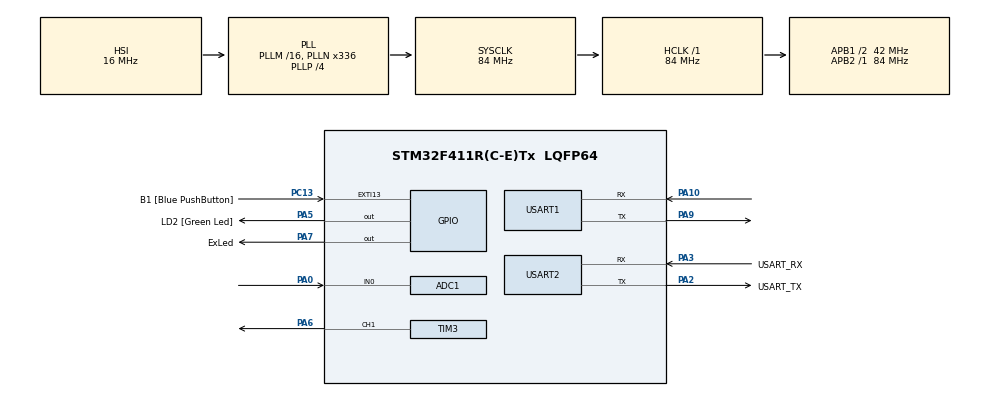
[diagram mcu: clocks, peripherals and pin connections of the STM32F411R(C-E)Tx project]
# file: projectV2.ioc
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ADC1.Channel-1\#ChannelRegularConversion=ADC_CHANNEL_0
ADC1.NbrOfConversionFlag=1
ADC1.Rank-1\#ChannelRegularConversion=1
ADC1.SamplingTime-1\#ChannelRegularConversion=ADC_SAMPLETIME_3CYCLES
ADC1.master=1
FREERTOS.Tasks01=defaultTask,0,128,StartDefaultTask,Default,NULL,Dynamic,NULL,NULL
Mcu.Family=STM32F4
Mcu.Name=STM32F411R(C-E)Tx
Mcu.Package=LQFP64
NVIC.PriorityGroup=NVIC_PRIORITYGROUP_4
PA0-WKUP.Signal=ADCx_IN0
PA10.Mode=Asynchronous
PA10.Signal=USART1_RX
PA13.GPIO_Label=TMS
PA13.Mode=Serial_Wire
PA13.Signal=SYS_JTMS-SWDIO
PA14.GPIO_Label=TCK
PA14.Mode=Serial_Wire
PA14.Signal=SYS_JTCK-SWCLK
PA2.GPIO_Label=USART_TX
PA2.Mode=Asynchronous
PA2.Signal=USART2_TX
PA3.GPIO_Label=USART_RX
PA3.Mode=Asynchronous
PA3.Signal=USART2_RX
PA5.GPIO_Label=LD2 [Green Led]
PA5.Signal=GPIO_Output
PA6.Signal=S_TIM3_CH1
PA7.GPIO_Label=ExLed
PA7.Signal=GPIO_Output
PA9.Mode=Asynchronous
PA9.Signal=USART1_TX
PB3.GPIO_Label=SWO
PB3.Signal=SYS_JTDO-SWO
PC13-ANTI_TAMP.GPIO_Label=B1 [Blue PushButton]
PC13-ANTI_TAMP.GPIO_ModeDefaultEXTI=GPIO_MODE_IT_FALLING
PC13-ANTI_TAMP.Signal=GPXTI13
PC14-OSC32_IN.Mode=LSE-External-Oscillator
PC14-OSC32_IN.Signal=RCC_OSC32_IN
PC15-OSC32_OUT.Mode=LSE-External-Oscillator
PC15-OSC32_OUT.Signal=RCC_OSC32_OUT
PH0\ -\ OSC_IN.Mode=HSE-External-Clock-Source
PH0\ -\ OSC_IN.Signal=RCC_OSC_IN
PH1\ -\ OSC_OUT.Mode=HSE-External-Clock-Source
PH1\ -\ OSC_OUT.Signal=RCC_OSC_OUT
ProjectManager.HeapSize=0x200
ProjectManager.StackSize=0x400
ProjectManager.TargetToolchain=STM32CubeIDE
RCC.48MHZClocksFreq_Value=84000000
RCC.AHBFreq_Value=84000000
RCC.APB1CLKDivider=RCC_HCLK_DIV2
RCC.APB1Freq_Value=42000000
RCC.APB1TimFreq_Value=84000000
RCC.APB2Freq_Value=84000000
RCC.APB2TimFreq_Value=84000000
RCC.CortexFreq_Value=84000000
RCC.FLatency-AdvancedSettings=FLASH_LATENCY_2
RCC.HCLKFreq_Value=84000000
RCC.HSE_VALUE=8000000
RCC.HSI_VALUE=16000000
RCC.PLLN=336
RCC.PLLP=RCC_PLLP_DIV4
RCC.SYSCLKFreq_VALUE=84000000
RCC.SYSCLKSource=RCC_SYSCLKSOURCE_PLLCLK
RCC.VCOOutputFreq_Value=336000000
SH.ADCx_IN0.0=ADC1_IN0,IN0
SH.S_TIM3_CH1.0=TIM3_CH1,PWM Generation1 CH1
TIM3.Channel-PWM\ Generation1\ CH1=TIM_CHANNEL_1
TIM3.Period=99
TIM3.Prescaler=83
USART1.VirtualMode=VM_ASYNC
USART2.VirtualMode=VM_ASYNC
VP_FREERTOS_VS_CMSIS_V1.Mode=CMSIS_V1
VP_TIM3_VS_ClockSourceINT.Mode=Internal
board=NUCLEO-F411RE

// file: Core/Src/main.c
/* USER CODE BEGIN Header */
/**
  ******************************************************************************
  * @file           : main.c
  * @brief          : Main program body
  ******************************************************************************
  * @attention
  *
  * <h2><center>&copy; Copyright (c) 2021 STMicroelectronics.
  * All rights reserved.</center></h2>
  *
  * This software component is licensed by ST under BSD 3-Clause license,
  * the "License"; You may not use this file except in compliance with the
  * License. You may obtain a copy of the License at:
  *                        opensource.org/licenses/BSD-3-Clause
  *
  ******************************************************************************
  */
/* USER CODE END Header */
#include "main.h"
#include "cmsis_os.h"

ADC_HandleTypeDef hadc1;

TIM_HandleTypeDef htim3;

UART_HandleTypeDef huart1;
UART_HandleTypeDef huart2;

osThreadId defaultTaskHandle;
/* USER CODE BEGIN PV */
osThreadId TransmitTaskHandle;
osThreadId ToggleTaskHandle;
osThreadId ReceiveTaskHandle;
uint16_t AD_RES = 0;
int32_t CH1_DC = 0;
char a[1000];
int enablemic = 0;
/* USER CODE END PV */

void SystemClock_Config(void);
static void MX_GPIO_Init(void);
static void MX_USART2_UART_Init(void);
static void MX_USART1_UART_Init(void);
static void MX_ADC1_Init(void);
static void MX_TIM3_Init(void);
void StartDefaultTask(void const * argument);

/* USER CODE BEGIN PFP */
void TransmittedThread(void const * argument);
void ToggleThread(void const * argument);
void ReceiveThread(void const * argument);

/* USER CODE END PFP */

int main(void)
{

  /* MCU Configuration--------------------------------------------------------*/

  /* Reset of all peripherals, Initializes the Flash interface and the Systick. */
  HAL_Init();

  /* Configure the system clock */
  SystemClock_Config();

  /* Initialize all configured peripherals */
  MX_GPIO_Init();
  MX_USART2_UART_Init();
  MX_USART1_UART_Init();
  MX_ADC1_Init();
  MX_TIM3_Init();

  /* Create the thread(s) */
  /* definition and creation of defaultTask */
  osThreadDef(defaultTask, StartDefaultTask, osPriorityNormal, 0, 128);
  defaultTaskHandle = osThreadCreate(osThread(defaultTask), NULL);

  /* Start scheduler */
  osKernelStart();

  /* We should never get here as control is now taken by the scheduler */
  /* Infinite loop */
  while (1)
  {

  }
}

void SystemClock_Config(void)
{
  RCC_OscInitTypeDef RCC_OscInitStruct = {0};
  RCC_ClkInitTypeDef RCC_ClkInitStruct = {0};

  /** Configure the main internal regulator output voltage
  */
  __HAL_RCC_PWR_CLK_ENABLE();
  __HAL_PWR_VOLTAGESCALING_CONFIG(PWR_REGULATOR_VOLTAGE_SCALE1);
  /** Initializes the RCC Oscillators according to the specified parameters
  * in the RCC_OscInitTypeDef structure.
  */
  RCC_OscInitStruct.OscillatorType = RCC_OSCILLATORTYPE_HSI;
  RCC_OscInitStruct.HSIState = RCC_HSI_ON;
  RCC_OscInitStruct.HSICalibrationValue = RCC_HSICALIBRATION_DEFAULT;
  RCC_OscInitStruct.PLL.PLLState = RCC_PLL_ON;
  RCC_OscInitStruct.PLL.PLLSource = RCC_PLLSOURCE_HSI;
  RCC_OscInitStruct.PLL.PLLM = 16;
  RCC_OscInitStruct.PLL.PLLN = 336;
  RCC_OscInitStruct.PLL.PLLP = RCC_PLLP_DIV4;
  RCC_OscInitStruct.PLL.PLLQ = 4;
  if (HAL_RCC_OscConfig(&RCC_OscInitStruct) != HAL_OK)
  {
    Error_Handler();
  }
  /** Initializes the CPU, AHB and APB buses clocks
  */
  RCC_ClkInitStruct.ClockType = RCC_CLOCKTYPE_HCLK|RCC_CLOCKTYPE_SYSCLK
                              |RCC_CLOCKTYPE_PCLK1|RCC_CLOCKTYPE_PCLK2;
  RCC_ClkInitStruct.SYSCLKSource = RCC_SYSCLKSOURCE_PLLCLK;
  RCC_ClkInitStruct.AHBCLKDivider = RCC_SYSCLK_DIV1;
  RCC_ClkInitStruct.APB1CLKDivider = RCC_HCLK_DIV2;
  RCC_ClkInitStruct.APB2CLKDivider = RCC_HCLK_DIV1;

  if (HAL_RCC_ClockConfig(&RCC_ClkInitStruct, FLASH_LATENCY_2) != HAL_OK)
  {
    Error_Handler();
  }
}

static void MX_ADC1_Init(void)
{

  ADC_ChannelConfTypeDef sConfig = {0};

  /** Configure the global features of the ADC (Clock, Resolution, Data Alignment and number of conversion)
  */
  hadc1.Instance = ADC1;
  hadc1.Init.ClockPrescaler = ADC_CLOCK_SYNC_PCLK_DIV4;
  hadc1.Init.Resolution = ADC_RESOLUTION_12B;
  hadc1.Init.ScanConvMode = DISABLE;
  hadc1.Init.ContinuousConvMode = DISABLE;
  hadc1.Init.DiscontinuousConvMode = DISABLE;
  hadc1.Init.ExternalTrigConvEdge = ADC_EXTERNALTRIGCONVEDGE_NONE;
  hadc1.Init.ExternalTrigConv = ADC_SOFTWARE_START;
  hadc1.Init.DataAlign = ADC_DATAALIGN_RIGHT;
  hadc1.Init.NbrOfConversion = 1;
  hadc1.Init.DMAContinuousRequests = DISABLE;
  hadc1.Init.EOCSelection = ADC_EOC_SINGLE_CONV;
  if (HAL_ADC_Init(&hadc1) != HAL_OK)
  {
    Error_Handler();
  }
  /** Configure for the selected ADC regular channel its corresponding rank in the sequencer and its sample time.
  */
  sConfig.Channel = ADC_CHANNEL_0;
  sConfig.Rank = 1;
  sConfig.SamplingTime = ADC_SAMPLETIME_3CYCLES;
  if (HAL_ADC_ConfigChannel(&hadc1, &sConfig) != HAL_OK)
  {
    Error_Handler();
  }

}

static void MX_TIM3_Init(void)
{

  TIM_ClockConfigTypeDef sClockSourceConfig = {0};
  TIM_MasterConfigTypeDef sMasterConfig = {0};
  TIM_OC_InitTypeDef sConfigOC = {0};

  htim3.Instance = TIM3;
  htim3.Init.Prescaler = 83;
  htim3.Init.CounterMode = TIM_COUNTERMODE_UP;
  htim3.Init.Period = 99;
  htim3.Init.ClockDivision = TIM_CLOCKDIVISION_DIV1;
  htim3.Init.AutoReloadPreload = TIM_AUTORELOAD_PRELOAD_DISABLE;
  if (HAL_TIM_Base_Init(&htim3) != HAL_OK)
  {
    Error_Handler();
  }
  sClockSourceConfig.ClockSource = TIM_CLOCKSOURCE_INTERNAL;
  if (HAL_TIM_ConfigClockSource(&htim3, &sClockSourceConfig) != HAL_OK)
  {
    Error_Handler();
  }
  if (HAL_TIM_PWM_Init(&htim3) != HAL_OK)
  {
    Error_Handler();
  }
  sMasterConfig.MasterOutputTrigger = TIM_TRGO_RESET;
  sMasterConfig.MasterSlaveMode = TIM_MASTERSLAVEMODE_DISABLE;
  if (HAL_TIMEx_MasterConfigSynchronization(&htim3, &sMasterConfig) != HAL_OK)
  {
    Error_Handler();
  }
  sConfigOC.OCMode = TIM_OCMODE_PWM1;
  sConfigOC.Pulse = 0;
  sConfigOC.OCPolarity = TIM_OCPOLARITY_HIGH;
  sConfigOC.OCFastMode = TIM_OCFAST_DISABLE;
  if (HAL_TIM_PWM_ConfigChannel(&htim3, &sConfigOC, TIM_CHANNEL_1) != HAL_OK)
  {
    Error_Handler();
  }
  HAL_TIM_MspPostInit(&htim3);

}

static void MX_USART1_UART_Init(void)
{

  huart1.Instance = USART1;
  huart1.Init.BaudRate = 115200;
  huart1.Init.WordLength = UART_WORDLENGTH_8B;
  huart1.Init.StopBits = UART_STOPBITS_1;
  huart1.Init.Parity = UART_PARITY_NONE;
  huart1.Init.Mode = UART_MODE_TX_RX;
  huart1.Init.HwFlowCtl = UART_HWCONTROL_NONE;
  huart1.Init.OverSampling = UART_OVERSAMPLING_16;
  if (HAL_UART_Init(&huart1) != HAL_OK)
  {
    Error_Handler();
  }

}

static void MX_USART2_UART_Init(void)
{

  huart2.Instance = USART2;
  huart2.Init.BaudRate = 115200;
  huart2.Init.WordLength = UART_WORDLENGTH_8B;
  huart2.Init.StopBits = UART_STOPBITS_1;
  huart2.Init.Parity = UART_PARITY_NONE;
  huart2.Init.Mode = UART_MODE_TX_RX;
  huart2.Init.HwFlowCtl = UART_HWCONTROL_NONE;
  huart2.Init.OverSampling = UART_OVERSAMPLING_16;
  if (HAL_UART_Init(&huart2) != HAL_OK)
  {
    Error_Handler();
  }

}

static void MX_GPIO_Init(void)
{
  GPIO_InitTypeDef GPIO_InitStruct = {0};

  /* GPIO Ports Clock Enable */
  __HAL_RCC_GPIOC_CLK_ENABLE();
  __HAL_RCC_GPIOH_CLK_ENABLE();
  __HAL_RCC_GPIOA_CLK_ENABLE();
  __HAL_RCC_GPIOB_CLK_ENABLE();

  /*Configure GPIO pin Output Level */
  HAL_GPIO_WritePin(GPIOA, LD2_Pin|ExLed_Pin, GPIO_PIN_RESET);

  /*Configure GPIO pin : B1_Pin */
  GPIO_InitStruct.Pin = B1_Pin;
  GPIO_InitStruct.Mode = GPIO_MODE_IT_FALLING;
  GPIO_InitStruct.Pull = GPIO_NOPULL;
  HAL_GPIO_Init(B1_GPIO_Port, &GPIO_InitStruct);

  /*Configure GPIO pins : LD2_Pin ExLed_Pin */
  GPIO_InitStruct.Pin = LD2_Pin|ExLed_Pin;
  GPIO_InitStruct.Mode = GPIO_MODE_OUTPUT_PP;
  GPIO_InitStruct.Pull = GPIO_NOPULL;
  GPIO_InitStruct.Speed = GPIO_SPEED_FREQ_LOW;
  HAL_GPIO_Init(GPIOA, &GPIO_InitStruct);

}

/* USER CODE BEGIN 4 */
void TransmittedThread(void const * argument){
	char c = 'n';
	char d = 'f';
	char e = 'e';
	char k = 'k';
	for(;;){
		if(HAL_GPIO_ReadPin(GPIOA, GPIO_PIN_7) == 0 && enablemic==0){
			HAL_UART_Transmit(&huart1, &d, 1, 100);
			//HAL_UART_Transmit(&huart2, &d, 1, 100);
		}
		else if(HAL_GPIO_ReadPin(GPIOA, GPIO_PIN_7) == 1 && enablemic==0){
			HAL_UART_Transmit(&huart1, &c, 1, 100);
			//HAL_UART_Transmit(&huart2, &c, 1, 100);
		}
		else if(HAL_GPIO_ReadPin(GPIOA, GPIO_PIN_7) == 0 && enablemic==1){
			HAL_UART_Transmit(&huart1, &e, 1, 100);
			//HAL_UART_Transmit(&huart2, &e, 1, 100);
		}
		else if(HAL_GPIO_ReadPin(GPIOA, GPIO_PIN_7) == 1 && enablemic==1){
			HAL_UART_Transmit(&huart1, &k, 1, 100);
			//HAL_UART_Transmit(&huart2, &k, 1, 100);
		}
	}
}

void ToggleThread(void const * argument){
	HAL_TIM_PWM_Start(&htim3, TIM_CHANNEL_1);
	HAL_ADC_Start(&hadc1);
	int mem=0;
	HAL_GPIO_WritePin(GPIOA, GPIO_PIN_7, GPIO_PIN_RESET);
	//HAL_GPIO_WritePin(GPIOA, GPIO_PIN_5, GPIO_PIN_RESET);
	for(;;){

		HAL_ADC_Start(&hadc1);
		HAL_ADC_PollForConversion(&hadc1, 1);
		AD_RES = HAL_ADC_GetValue(&hadc1);
		sprintf(a,"%d\n\r",AD_RES);
		//HAL_UART_Transmit(&huart2,a,strlen(a),1000);
		if(enablemic == 0 && AD_RES >= 4000){
			HAL_GPIO_TogglePin(GPIOA, GPIO_PIN_7);
			//HAL_GPIO_TogglePin(GPIOA, GPIO_PIN_5);
			HAL_Delay(500);
		}

	}
}

void ReceiveThread(void const * argument){
	char x='x';
	for(;;){
		if(HAL_UART_Receive(&huart1, &x, 1, 100) == HAL_OK){
			if(x=='p'){
				HAL_GPIO_WritePin(GPIOA, GPIO_PIN_7, GPIO_PIN_SET);
			}
			else if(x=='u'){
				HAL_GPIO_WritePin(GPIOA, GPIO_PIN_7, GPIO_PIN_RESET);
			}
			else if(x=='j'){
				enablemic = 1;
			}
			else if(x=='i'){
				enablemic = 0;
			}
			HAL_UART_Transmit(&huart2, &x, 1, 100);
		}
	}
}

/* USER CODE END 4 */

void StartDefaultTask(void const * argument)
{
  /* USER CODE BEGIN 5 */
	 osThreadDef(transmit, TransmittedThread, osPriorityNormal, 0, 128);
	 TransmitTaskHandle = osThreadCreate(osThread(transmit), NULL);
	 osThreadDef(toggle, ToggleThread, osPriorityNormal, 0, 128);
	 ToggleTaskHandle = osThreadCreate(osThread(toggle), NULL);
	 osThreadDef(receive, ReceiveThread, osPriorityNormal, 0, 128);
	 ReceiveTaskHandle = osThreadCreate(osThread(receive), NULL);
  /* Infinite loop */
  for(;;)
  {
    osDelay(1);
  }
  /* USER CODE END 5 */
}

void Error_Handler(void)
{
  __disable_irq();
  while (1)
  {
  }
}

/************************ (C) COPYRIGHT STMicroelectronics *****END OF FILE****/
